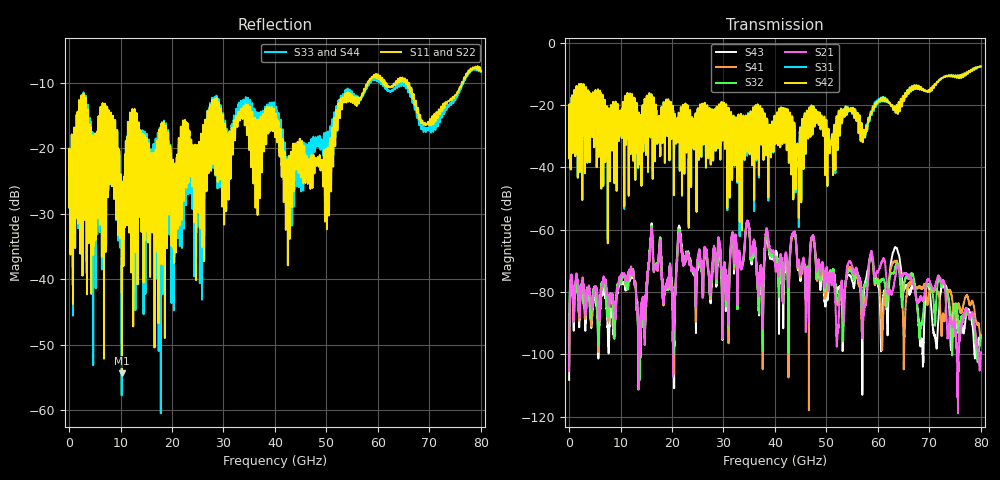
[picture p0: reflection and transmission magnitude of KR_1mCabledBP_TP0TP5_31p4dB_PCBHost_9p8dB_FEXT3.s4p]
!! Reference: shanbhag_3dj_02_2305.pdf
!! CHANNEL DESCRIPTION: TP0_TP5 KR Channel using 1meter Cabled BP, PCB Host
!! CABLE DESCRIPTION: 1meter 26AWG Cable
!! MODEL STATUS: Developmental
!! PORT DEFINITIONS:
!! Port  1  ----->  Side A  Side B  <-----  Port  2
!! Port  3  ----->  Side A  Side B  <-----  Port  4
# HZ S MA R 50.000000
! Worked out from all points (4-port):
!   8000 points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, 10 MHz to 80 GHz, reference 50 ohm
!   strongest paths, dB at 10 MHz, 20.01 GHz, 40.01 GHz, 60.01 GHz, 80 GHz:
!     S42: -26.8, -30.2, -24.9, -18.9, -7.6
!     S31: -26.8, -30.2, -25.0, -19.4, -7.6
!     S21: -105.3, -83.2, -71.5, -73.4, -99.3
!     S32: -99.1, -81.0, -70.6, -77.0, -94.3
!     S41: -103.6, -80.6, -69.9, -75.9, -94.7
!     S43: -108.2, -78.4, -69.2, -77.2, -93.9
!   lowest |S11| = -54.3 dB at 10.28 GHz (marker M1), VSWR 1.00, Z = 50.2 + j0.108 ohm
!   |S11| at or under -10 dB: start of sweep to 57.99 GHz; 61.34 GHz to 63.4 GHz (2.056 GHz wide, 3.3 % of centre); 65.75 GHz to 76.27 GHz (10.52 GHz wide, 14.8 % of centre)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
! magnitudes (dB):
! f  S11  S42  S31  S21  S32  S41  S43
! 10 MHz  -23.8  -26.8  -26.8  -105.3  -99.1  -103.6  -108.2
! 10.28 GHz  -54.3  -27.0  -27.0  -74.1  -75.4  -75.3  -76.8
! 15.93 GHz  -23.1  -21.1  -21.2  -61.3  -60.7  -60.7  -60.0
! 20.34 GHz  -30.7  -31.9  -32.0  -86.2  -90.5  -92.6  -87.0
! 21.47 GHz  -23.2  -28.7  -28.6  -61.1  -60.2  -60.2  -59.1
! 44.33 GHz  -19.4  -32.6  -32.4  -71.4  -70.4  -70.7  -70.6
! 80 GHz  -8.2  -7.6  -7.6  -99.3  -94.3  -94.7  -93.9
